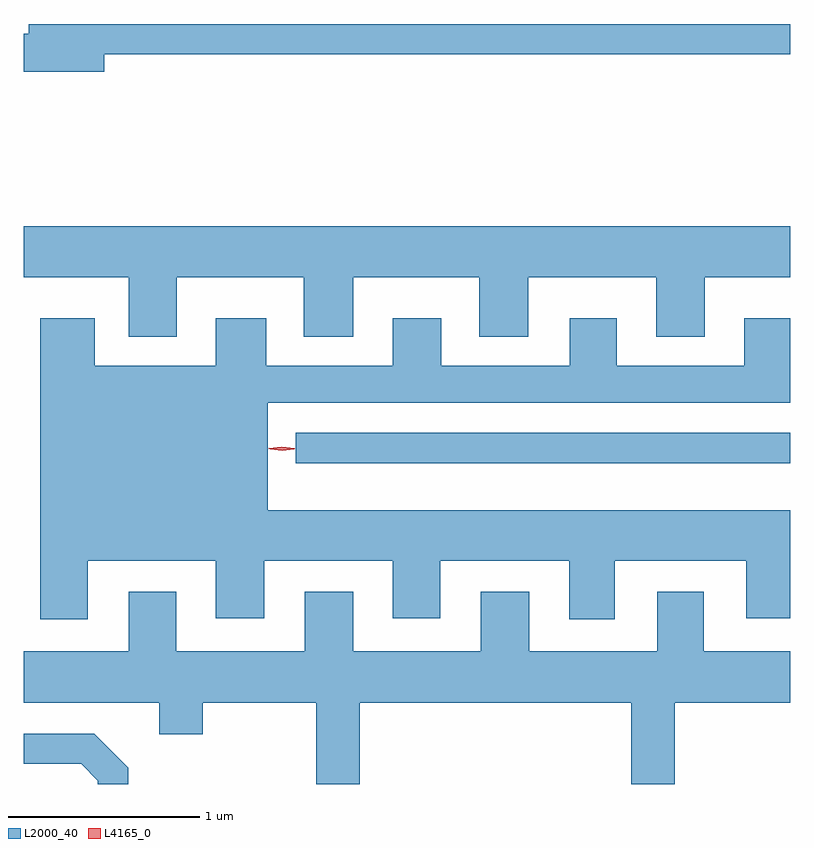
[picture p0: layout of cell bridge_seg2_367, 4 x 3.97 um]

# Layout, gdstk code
import gdstk
lib = gdstk.Library(unit=1e-6, precision=1e-09)
def R(c, l, rs):  # rectangles x0, y0, x1, y1
    for r in rs: c.add(gdstk.rectangle(r[:2], r[2:], *l))
def P(c, l, *ps):  # polygons
    for p in ps: c.add(gdstk.Polygon(p, *l))
L2000_40 = (2000, 40)
L4165_0 = (4165, 0)

bridge_seg2_367 = lib.new_cell('bridge_seg2_367')
R(bridge_seg2_367, L2000_40, [(602.803,1040.686,605.385,1040.844)])
P(bridge_seg2_367, L2000_40, [(601.804,1042.821),(605.385,1042.821),(605.385,1042.979),(601.411,1042.979),(601.411,1042.929),(601.385,1042.929),(601.385,1042.731),(601.804,1042.731)],
  [(601.385,1041.656),(601.931,1041.656),(601.931,1041.346),(602.184,1041.346),(602.184,1041.656),(602.846,1041.656),(602.846,1041.346),(603.104,1041.346),(603.104,1041.656),(603.761,1041.656),(603.761,1041.346),(604.019,1041.346),(604.019,1041.656),(604.686,1041.656),(604.686,1041.346),(604.939,1041.346),(604.939,1041.656),(605.385,1041.656),(605.385,1041.924),(601.385,1041.924)],
  [(601.719,1040.176),(602.386,1040.176),(602.386,1039.876),(602.639,1039.876),(602.639,1040.176),(603.311,1040.176),(603.311,1039.876),(603.559,1039.876),(603.559,1040.176),(604.231,1040.176),(604.231,1039.871),(604.469,1039.871),(604.469,1040.176),(605.156,1040.176),(605.156,1039.876),(605.385,1039.876),(605.385,1040.439),(602.659,1040.439),(602.659,1041.001),(605.385,1041.001),(605.385,1041.444),(605.146,1041.444),(605.146,1041.194),(604.479,1041.194),(604.479,1041.444),(604.236,1041.444),(604.236,1041.194),(603.564,1041.194),(603.564,1041.444),(603.311,1041.444),(603.311,1041.194),(602.649,1041.194),(602.649,1041.444),(602.386,1041.444),(602.386,1041.194),(601.754,1041.194),(601.754,1041.444),(601.471,1041.444),(601.471,1039.871),(601.719,1039.871)],
  [(603.139,1039.436),(604.556,1039.436),(604.556,1039.011),(604.784,1039.011),(604.784,1039.436),(605.385,1039.436),(605.385,1039.704),(604.934,1039.704),(604.934,1040.014),(604.691,1040.014),(604.691,1039.704),(604.024,1039.704),(604.024,1040.014),(603.771,1040.014),(603.771,1039.704),(603.104,1039.704),(603.104,1040.014),(602.851,1040.014),(602.851,1039.704),(602.179,1039.704),(602.179,1040.014),(601.931,1040.014),(601.931,1039.704),(601.385,1039.704),(601.385,1039.436),(602.091,1039.436),(602.091,1039.271),(602.319,1039.271),(602.319,1039.436),(602.911,1039.436),(602.911,1039.011),(603.139,1039.011)],
  [(601.929,1039.097),(601.752,1039.274),(601.385,1039.274),(601.385,1039.116),(601.684,1039.116),(601.771,1039.029),(601.771,1039.011),(601.929,1039.011)])
P(bridge_seg2_367, L4165_0, [(602.731,1040.753),(602.663,1040.762),(602.662,1040.763),(602.663,1040.763),(602.731,1040.773),(602.8,1040.763),(602.8,1040.763),(602.8,1040.762)],
  [(602.734,1040.75),(602.672,1040.759),(602.672,1040.76),(602.672,1040.76),(602.734,1040.77),(602.796,1040.761),(602.797,1040.76),(602.796,1040.76)])

lib.write_gds('bridge_seg2_367.gds')
